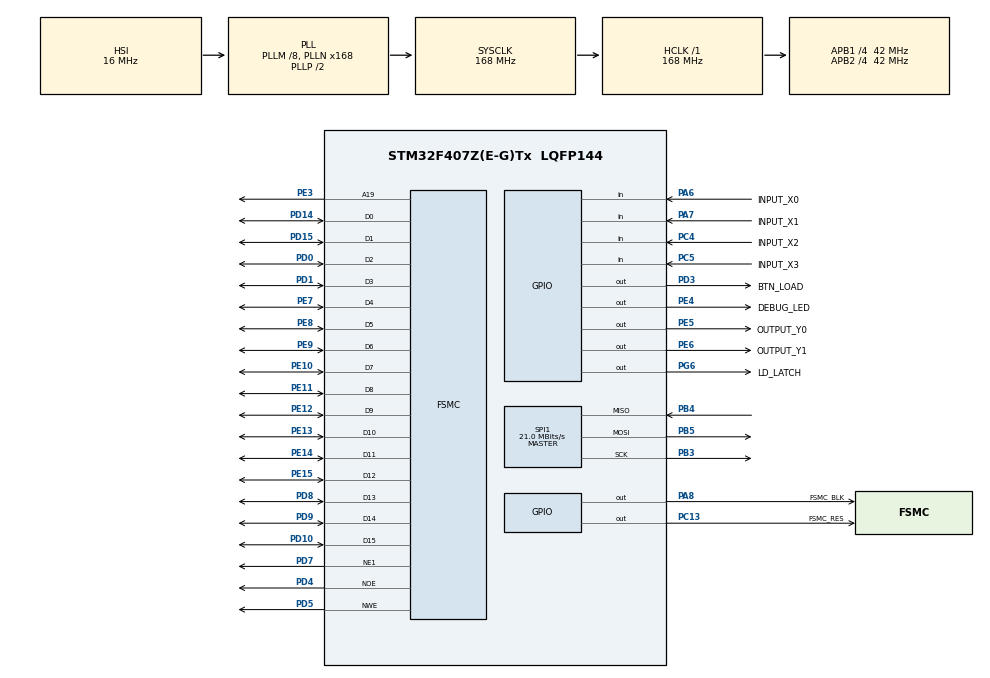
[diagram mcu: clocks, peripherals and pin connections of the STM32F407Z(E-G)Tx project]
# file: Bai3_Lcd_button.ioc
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FSMC.AddressSetupTime1=0xf
FSMC.BusTurnAroundDuration1=0
FSMC.DataSetupTime1=60
FSMC.ExtendedAddressSetupTime1=8
FSMC.ExtendedBusTurnAroundDuration1=0
FSMC.ExtendedDataSetupTime1=9
FSMC.ExtendedMode1=FSMC_EXTENDED_MODE_ENABLE
Mcu.Family=STM32F4
Mcu.Name=STM32F407Z(E-G)Tx
Mcu.Package=LQFP144
NVIC.PriorityGroup=NVIC_PRIORITYGROUP_4
NVIC.TIM2_IRQn=true\:0\:0\:false\:false\:true\:true\:true
PA13.Mode=Serial_Wire
PA13.Signal=SYS_JTMS-SWDIO
PA14.Mode=Serial_Wire
PA14.Signal=SYS_JTCK-SWCLK
PA6.GPIO_Label=INPUT_X0
PA6.Signal=GPIO_Input
PA7.GPIO_Label=INPUT_X1
PA7.Signal=GPIO_Input
PA8.GPIO_Label=FSMC_BLK
PA8.Signal=GPIO_Output
PB3.Mode=Full_Duplex_Master
PB3.Signal=SPI1_SCK
PB4.Mode=Full_Duplex_Master
PB4.Signal=SPI1_MISO
PB5.Mode=Full_Duplex_Master
PB5.Signal=SPI1_MOSI
PC13-ANTI_TAMP.GPIO_Label=FSMC_RES
PC13-ANTI_TAMP.Signal=GPIO_Output
PC4.GPIO_Label=INPUT_X2
PC4.Signal=GPIO_Input
PC5.GPIO_Label=INPUT_X3
PC5.Signal=GPIO_Input
PD0.Signal=FSMC_D2_DA2
PD1.Signal=FSMC_D3_DA3
PD10.Signal=FSMC_D15_DA15
PD14.Signal=FSMC_D0_DA0
PD15.Signal=FSMC_D1_DA1
PD3.GPIO_Label=BTN_LOAD
PD3.Signal=GPIO_Output
PD4.Signal=FSMC_NOE
PD5.Signal=FSMC_NWE
PD7.Mode=NorPsramChipSelect1_1
PD7.Signal=FSMC_NE1
PD8.Signal=FSMC_D13_DA13
PD9.Signal=FSMC_D14_DA14
PE10.Signal=FSMC_D7_DA7
PE11.Signal=FSMC_D8_DA8
PE12.Signal=FSMC_D9_DA9
PE13.Signal=FSMC_D10_DA10
PE14.Signal=FSMC_D11_DA11
PE15.Signal=FSMC_D12_DA12
PE3.Signal=FSMC_A19
PE4.GPIO_Label=DEBUG_LED
PE4.Signal=GPIO_Output
PE5.GPIO_Label=OUTPUT_Y0
PE5.Signal=GPIO_Output
PE6.GPIO_Label=OUTPUT_Y1
PE6.Signal=GPIO_Output
PE7.Signal=FSMC_D4_DA4
PE8.Signal=FSMC_D5_DA5
PE9.Signal=FSMC_D6_DA6
PG6.GPIO_Label=LD_LATCH
PG6.Signal=GPIO_Output
PH0-OSC_IN.Mode=HSE-External-Oscillator
PH0-OSC_IN.Signal=RCC_OSC_IN
PH1-OSC_OUT.Mode=HSE-External-Oscillator
PH1-OSC_OUT.Signal=RCC_OSC_OUT
ProjectManager.HeapSize=0x200
ProjectManager.StackSize=0x400
ProjectManager.TargetToolchain=STM32CubeIDE
RCC.48MHZClocksFreq_Value=84000000
RCC.AHBFreq_Value=168000000
RCC.APB1CLKDivider=RCC_HCLK_DIV4
RCC.APB1Freq_Value=42000000
RCC.APB1TimFreq_Value=84000000
RCC.APB2CLKDivider=RCC_HCLK_DIV4
RCC.APB2Freq_Value=42000000
RCC.APB2TimFreq_Value=84000000
RCC.CortexFreq_Value=168000000
RCC.HCLKFreq_Value=168000000
RCC.HSE_VALUE=8000000
RCC.HSI_VALUE=16000000
RCC.LSE_VALUE=32768
RCC.PLLM=8
RCC.PLLN=168
RCC.SYSCLKFreq_VALUE=168000000
RCC.SYSCLKSource=RCC_SYSCLKSOURCE_PLLCLK
RCC.VCOOutputFreq_Value=336000000
SH.FSMC_A19.0=FSMC_A19,A19_1
SH.FSMC_D0_DA0.0=FSMC_D0,16b-d1
SH.FSMC_D10_DA10.0=FSMC_D10,16b-d1
SH.FSMC_D11_DA11.0=FSMC_D11,16b-d1
SH.FSMC_D12_DA12.0=FSMC_D12,16b-d1
SH.FSMC_D13_DA13.0=FSMC_D13,16b-d1
SH.FSMC_D14_DA14.0=FSMC_D14,16b-d1
SH.FSMC_D15_DA15.0=FSMC_D15,16b-d1
SH.FSMC_D1_DA1.0=FSMC_D1,16b-d1
SH.FSMC_D2_DA2.0=FSMC_D2,16b-d1
SH.FSMC_D3_DA3.0=FSMC_D3,16b-d1
SH.FSMC_D4_DA4.0=FSMC_D4,16b-d1
SH.FSMC_D5_DA5.0=FSMC_D5,16b-d1
SH.FSMC_D6_DA6.0=FSMC_D6,16b-d1
SH.FSMC_D7_DA7.0=FSMC_D7,16b-d1
SH.FSMC_D8_DA8.0=FSMC_D8,16b-d1
SH.FSMC_D9_DA9.0=FSMC_D9,16b-d1
SH.FSMC_NOE.0=FSMC_NOE,Lcd1
SH.FSMC_NWE.0=FSMC_NWE,Lcd1
SPI1.BaudRatePrescaler=SPI_BAUDRATEPRESCALER_2
SPI1.CalculateBaudRate=21.0 MBits/s
SPI1.Direction=SPI_DIRECTION_2LINES
SPI1.Mode=SPI_MODE_MASTER
SPI1.VirtualType=VM_MASTER
TIM2.Period=100-1
TIM2.Prescaler=840-1
VP_TIM2_VS_ClockSourceINT.Mode=Internal
board=custom

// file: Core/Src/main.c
/* USER CODE BEGIN Header */
/**
  ******************************************************************************
  * @file           : main.c
  * @brief          : Main program body
  ******************************************************************************
  * @attention
  *
  * <h2><center>&copy; Copyright (c) 2024 STMicroelectronics.
  * All rights reserved.</center></h2>
  *
  * This software component is licensed by ST under BSD 3-Clause license,
  * the "License"; You may not use this file except in compliance with the
  * License. You may obtain a copy of the License at:
  *                        opensource.org/licenses/BSD-3-Clause
  *
  ******************************************************************************
  */
/* USER CODE END Header */
#include "main.h"
#include "spi.h"
#include "tim.h"
#include "gpio.h"
#include "fsmc.h"

/* USER CODE BEGIN Includes */
#include "software_timer.h"
#include "led_7seg.h"
#include "button.h"
#include "lcd.h"
#include "picture.h"
/* USER CODE END Includes */

/* USER CODE BEGIN PD */
#define GREEN_RED 0
#define YELLOW_RED 1
#define RED_GREEN 2
#define RED_YELLOW 3
/* USER CODE END PD */

void SystemClock_Config(void);
/* USER CODE BEGIN PFP */
void system_init();
void test_button();
void test_lcd();
void Traffic_Light();
/* USER CODE END PFP */

/* USER CODE BEGIN 0 */
int RED_TIME = 260;
int YELLOW_TIME = 60;
int GREEN_TIME = 200;
int mode = 0;
int temp_red_time = 0;
int temp_yellow_time = 0;
int temp_green_time = 0;
int normal_count = 0;
/* USER CODE END 0 */

int main(void)
{

  /* MCU Configuration--------------------------------------------------------*/

  /* Reset of all peripherals, Initializes the Flash interface and the Systick. */
  HAL_Init();

  /* Configure the system clock */
  SystemClock_Config();

  /* Initialize all configured peripherals */
  MX_GPIO_Init();
  MX_TIM2_Init();
  MX_SPI1_Init();
  MX_FSMC_Init();
  /* USER CODE BEGIN 2 */
  system_init();
  lcd_Clear(WHITE);
  test_lcd();
  /* USER CODE END 2 */

  /* Infinite loop */
  /* USER CODE BEGIN WHILE */
  while (1)
  {
	while(!flag_timer2);
	flag_timer2 = 0;
	button_Scan();
	if (button_count[0] == 1) {
	  mode = (mode > 2) ? 0 : (mode + 1);
	  if (mode == 0) {
		  normal_count = 0;
	  }
	  lcd_Clear(WHITE);
	}
	Traffic_Light();
    /* USER CODE END WHILE */

  }
}

void SystemClock_Config(void)
{
  RCC_OscInitTypeDef RCC_OscInitStruct = {0};
  RCC_ClkInitTypeDef RCC_ClkInitStruct = {0};

  /** Configure the main internal regulator output voltage
  */
  __HAL_RCC_PWR_CLK_ENABLE();
  __HAL_PWR_VOLTAGESCALING_CONFIG(PWR_REGULATOR_VOLTAGE_SCALE1);
  /** Initializes the RCC Oscillators according to the specified parameters
  * in the RCC_OscInitTypeDef structure.
  */
  RCC_OscInitStruct.OscillatorType = RCC_OSCILLATORTYPE_HSI;
  RCC_OscInitStruct.HSIState = RCC_HSI_ON;
  RCC_OscInitStruct.HSICalibrationValue = RCC_HSICALIBRATION_DEFAULT;
  RCC_OscInitStruct.PLL.PLLState = RCC_PLL_ON;
  RCC_OscInitStruct.PLL.PLLSource = RCC_PLLSOURCE_HSI;
  RCC_OscInitStruct.PLL.PLLM = 8;
  RCC_OscInitStruct.PLL.PLLN = 168;
  RCC_OscInitStruct.PLL.PLLP = RCC_PLLP_DIV2;
  RCC_OscInitStruct.PLL.PLLQ = 4;
  if (HAL_RCC_OscConfig(&RCC_OscInitStruct) != HAL_OK)
  {
    Error_Handler();
  }
  /** Initializes the CPU, AHB and APB buses clocks
  */
  RCC_ClkInitStruct.ClockType = RCC_CLOCKTYPE_HCLK|RCC_CLOCKTYPE_SYSCLK
                              |RCC_CLOCKTYPE_PCLK1|RCC_CLOCKTYPE_PCLK2;
  RCC_ClkInitStruct.SYSCLKSource = RCC_SYSCLKSOURCE_PLLCLK;
  RCC_ClkInitStruct.AHBCLKDivider = RCC_SYSCLK_DIV1;
  RCC_ClkInitStruct.APB1CLKDivider = RCC_HCLK_DIV4;
  RCC_ClkInitStruct.APB2CLKDivider = RCC_HCLK_DIV4;

  if (HAL_RCC_ClockConfig(&RCC_ClkInitStruct, FLASH_LATENCY_5) != HAL_OK)
  {
    Error_Handler();
  }
}

/* USER CODE BEGIN 4 */
void system_init() {
  HAL_GPIO_WritePin(OUTPUT_Y0_GPIO_Port, OUTPUT_Y0_Pin, 0);
  HAL_GPIO_WritePin(OUTPUT_Y1_GPIO_Port, OUTPUT_Y1_Pin, 0);
  HAL_GPIO_WritePin(DEBUG_LED_GPIO_Port, DEBUG_LED_Pin, 0);

	timer_init();
	led7_init();
	button_init();
	lcd_init();
	setTimer2(50);

	temp_green_time = GREEN_TIME;
	temp_red_time = RED_TIME;
	temp_yellow_time = YELLOW_TIME;
}
void test_button() {
  for (int i = 0; i < 16; i++) {
    if (button_count[i] > 0) {
      lcd_ShowIntNum(140, 105, i, 2, BRED, WHITE, 32);
    }
  }
}
void test_lcd() {
  // min(0, 0) max(240, 320)
  lcd_Fill(0, 0, 240, 20, BLUE); //
  lcd_StrCenter(0, 2, "Hello World", RED, BLUE, 16, 1);
  lcd_ShowStr(20, 30, "Test LCD Screen", WHITE, RED, 24, 0);
  lcd_DrawCircle(60, 120, GREEN, 40, 1); //lcd_DrawCircle(x_center, y_center, color, radius, fill)
  lcd_DrawCircle(160, 120, BRED, 40, 0);
  lcd_ShowPicture(80, 200, 90, 120, gImage_pic);
}
void draw_light(int state) {
  switch (state) {
    case 99:
      lcd_DrawCircle(60, 120, BRED, 30, 1);
      lcd_DrawCircle(60, 190, BRED, 30, 1);
      lcd_DrawCircle(60, 260, BRED, 30, 1);
      lcd_DrawCircle(160, 120, BRED, 30, 1);
      lcd_DrawCircle(160, 190, BRED, 30, 1);
      lcd_DrawCircle(160, 260, BRED, 30, 1);
      break;
    case GREEN_RED:
      lcd_DrawCircle(60, 120, GREEN, 30, 1);
      lcd_DrawCircle(60, 190, BRED, 30, 0);
      lcd_DrawCircle(60, 260, BRED, 30, 0);
      lcd_DrawCircle(160, 120, BRED, 30, 0);
      lcd_DrawCircle(160, 190, BRED, 30, 0);
      lcd_DrawCircle(160, 260, RED, 30, 1);
      break;
    case YELLOW_RED:
      lcd_DrawCircle(60, 120, BRED, 30, 0);
      lcd_DrawCircle(60, 190, YELLOW, 30, 1);
      lcd_DrawCircle(60, 260, BRED, 30, 0);
      lcd_DrawCircle(160, 120, BRED, 30, 0);
      lcd_DrawCircle(160, 190, BRED, 30, 0);
      lcd_DrawCircle(160, 260, RED, 30, 1);
      break;
    case RED_GREEN:
      lcd_DrawCircle(60, 120, BRED, 30, 0);
      lcd_DrawCircle(60, 190, BRED, 30, 0);
      lcd_DrawCircle(60, 260, RED, 30, 1);
      lcd_DrawCircle(160, 120, GREEN, 30, 1);
      lcd_DrawCircle(160, 190, BRED, 30, 0);
      lcd_DrawCircle(160, 260, BRED, 30, 0);
      break;
    case RED_YELLOW:
      lcd_DrawCircle(60, 120, BRED, 30, 0);
      lcd_DrawCircle(60, 190, BRED, 30, 0);
      lcd_DrawCircle(60, 260, RED, 30, 1);
      lcd_DrawCircle(160, 120, BRED, 30, 0);
      lcd_DrawCircle(160, 190, YELLOW, 30, 1);
      lcd_DrawCircle(160, 260, BRED, 30, 0);
      break;
  }
}

void normal_mode_traffic_light() {
  static int state = GREEN_RED;
  lcd_ShowStr(20, 30, "NORMAL MODE", WHITE, RED, 24, 0);
  if (normal_count == 0) {
	lcd_Clear(WHITE);
    draw_light(state);
    switch (state) {
      case GREEN_RED:
    	  normal_count = GREEN_TIME;
        state = YELLOW_RED;
        break;
      case YELLOW_RED:
    	  normal_count = YELLOW_TIME;
        state = RED_GREEN;
        break;
      case RED_GREEN:
    	  normal_count = GREEN_TIME;
        state = RED_YELLOW;
        break;
      case RED_YELLOW:
    	  normal_count = YELLOW_TIME;
        state = GREEN_RED;
        break;
    }
  }
  normal_count--;
}

void blink_light(int light_type) {
  static int count = 0;
  static int toggle = 0;
  if (count % 10 == 0) {
	toggle = 1 - toggle;
	draw_light(99);
	if (toggle == 1) {
		switch (light_type) {
			  case 1:
				lcd_DrawCircle(60, 260, RED, 30, 1);
				lcd_DrawCircle(160, 260, RED, 30, 1);
				break;
		      case 2:
		        lcd_DrawCircle(60, 120, GREEN, 30, 1);
		        lcd_DrawCircle(160, 120, GREEN, 30, 1);
		        break;
		      case 3:
		        lcd_DrawCircle(60, 190, YELLOW, 30, 1);
		        lcd_DrawCircle(160, 190, YELLOW, 30, 1);
		        break;
		    }
	} else {
		switch (light_type) {
			  case 1:
				lcd_DrawCircle(60, 260, WHITE, 30, 1);
				lcd_DrawCircle(160, 260, WHITE, 30, 1);
				break;
		      case 2:
		        lcd_DrawCircle(60, 120, WHITE, 30, 1);
		        lcd_DrawCircle(160, 120, WHITE, 30, 1);
		        break;
		      case 3:
		        lcd_DrawCircle(60, 190, WHITE, 30, 1);
		        lcd_DrawCircle(160, 190, WHITE, 30, 1);
		        break;
		    }
	}

  }
  count++;
}
void modify_mode_traffic_light() {
  switch (mode) {
    case 1:
      if (button_count[1] == 1) {
        temp_red_time+=20;
      } else if (button_count[2] == 1) {
        RED_TIME = temp_red_time;
      } else if (button_count[0] == 1) {
        temp_red_time = RED_TIME;
        temp_green_time = GREEN_TIME;
        temp_yellow_time = YELLOW_TIME;
      }
      break;
    case 2:
      if (button_count[1] == 1) {
        temp_green_time+=20;
      } else if (button_count[2] == 1) {
        GREEN_TIME = temp_green_time;
      } else if (button_count[0] == 1) {
    	  temp_red_time = RED_TIME;
    	          temp_green_time = GREEN_TIME;
    	          temp_yellow_time = YELLOW_TIME;
      }
      break;
    case 3:
      if (button_count[1] == 1) {
        temp_yellow_time+=20;
      } else if (button_count[2] == 1) {
        YELLOW_TIME = temp_yellow_time;
      } else if (button_count[0] == 1) {
    	  temp_red_time = RED_TIME;
    	          temp_green_time = GREEN_TIME;
    	          temp_yellow_time = YELLOW_TIME;
      }
      break;
  }
  lcd_ShowStr(20, 10, "MODIFICATION MODE", WHITE, RED, 16, 0);
  lcd_ShowStr(20, 30, "RED TIME:", WHITE, RED, 16, 0);
  lcd_ShowIntNum(140, 30, temp_red_time/20, 2, BRED, WHITE, 16);
  lcd_ShowStr(20, 50, "YELLOW TIME:", WHITE, RED, 16, 0);
  lcd_ShowIntNum(140, 50, temp_yellow_time/20, 2, BRED, WHITE, 16);
  lcd_ShowStr(20, 70, "GREEN TIME:", WHITE, RED, 16, 0);
  lcd_ShowIntNum(140, 70, temp_green_time/20, 2, BRED, WHITE, 16);
  blink_light(mode);
}

void Traffic_Light() {
  if (mode == 0) {
    normal_mode_traffic_light();
  } else {
    modify_mode_traffic_light();
  }
}
/* USER CODE END 4 */

void Error_Handler(void)
{
  __disable_irq();
  while (1)
  {
  }
}

/************************ (C) COPYRIGHT STMicroelectronics *****END OF FILE****/
